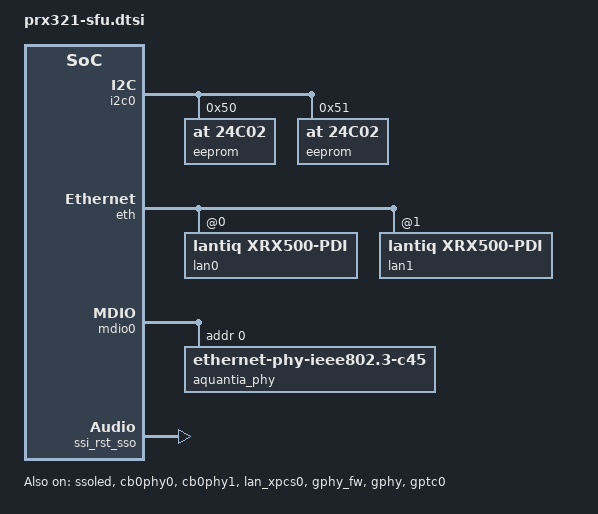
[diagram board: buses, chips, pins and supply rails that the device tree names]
#include <dt-bindings/gpio/gpio.h>
#include "prx300.dtsi"

/******************************************************************************
 ** Board configuration: Enable Shift register LED board configuration.
 ******************************************************************************/
&ssogpio {
	status = "okay";
	ngpios = <16>;
	intel,sso-update-rate = <250000>;
	/* Shift clk freq: 25MHz, 12.5MHz, 6.25MHz, 3.125Mz */
	intel,sso-shift-clk-freq = <6250000>;
};

&ssoled {
	status = "okay";

	/* led definition */
	intel,sso-def-brightness = <0>; /* default off */
	/* blink rate list: 2, 4, 8, 10, 50K, 100K, 200K, 250K*/
	intel,sso-def-blinkrate = <250000>;
};

/******************************************************************************
 ** Board configuration: Enable I2C for WAN transceiver EEPROM
 ******************************************************************************/
&i2c0 {
	status = "okay";

	/* EEPROM of the optical WAN transceiver */
	eeprom@50 {
		compatible = "at,24c02";
		reg = <0x50>;
	};
	eeprom@51 {
		compatible = "at,24c02";
		reg = <0x51>;
	};
};

/******************************************************************************
 ** Board configuration: Configure LAN/WAN interfaces
 ******************************************************************************/
&eth {
	status = "okay";

	lan0: interface@0 {
		status = "okay";
		compatible = "lantiq,xrx500-pdi";
		#address-cells = <1>;
		#size-cells = <0>;
		reg = <0>;
		intel,dp-dev-port = <3>;
		intel,dp-port-id = <3>;
		mac = <&gsw_mac1>;
		intel,lct-en = <1>;
		intel,extra-subif = <3>;

		ethernet@1 {
			compatible = "lantiq,xrx500-pdi-port";
			reg = <1>;
			phy-mode = "rgmii";
			phy-handle = <&aquantia_phy>;
		};
	};

	lan1: interface@1 {
		status = "okay";
		compatible = "lantiq,xrx500-pdi";
		#address-cells = <1>;
		#size-cells = <0>;
		reg = <1>;
		intel,dp-dev-port = <4>;
		intel,dp-port-id = <4>;
		mac = <&gsw_mac2>;
		intel,lct-en = <1>;
		intel,extra-subif = <3>;

		ethernet@1 {
			compatible = "lantiq,xrx500-pdi-port";
			reg = <2>;
			phy-mode = "rgmii";
			phy-handle = <&gphy>;
		};
	};

	wan: interface@5 {
		status = "disabled";
		compatible = "lantiq,xrx500-pdi";
		#address-cells = <1>;
		#size-cells = <0>;
		reg = <5>;
		lantiq,wan = <1>;
		intel,dp-dev-port = <2>;
		intel,dp-port-id = <2>;
		mac = <&gsw_mac0>;

		ethernet@5 {
			compatible = "lantiq,xrx500-pdi-port";
			reg = <1>;
			phy-mode = "rgmii";
		};
	};
};

/* xgmac mdio pins */
&gsw_mac1 {
	pinctrl-names = "default";
	pinctrl-0 = <&pinctrl_mdio0>;
};

/* mdio0 bus */
&mdio0 {
	#address-cells = <1>;
	#size-cells = <0>;
	aquantia_phy: ethernet-phy@0 {
		reg = <0x0>;
		compatible = "ethernet-phy-ieee802.3-c45";
	};
};

/* This is needed to improve qspi stability on the board */
&pinctrl_qspi {
	intel,slew-rate = <1>;
	intel,drive-current = <3>;
};

&ssc0 {
	pinctrl-0 = <&pinctrl_spi0_alt &pinctrl_spi0_cs_alt>;

	ltq-spinand@1 {
		status = "disabled";
		#address-cells = <1>;
		#size-cells = <1>;
		reg = <1>;
		compatible = "lantiq,spinand";
		linux,mtd-name = "nand.0";
		spi-max-frequency = <15384615>;
	};
};

&qspi0 {
	ltq-spinand@0 {
		status = "disabled";
		#address-cells = <1>;
		#size-cells = <1>;
		compatible = "lantiq,spinand";
		reg = <0 1>;
		linux,mtd-name = "nand.0";
		spi-max-frequency = <50000000>;
		page-size = <2048>;
		block-size = <17>; // 2^17, 128KB
		spi-tx-bus-width = <4>;
		spi-rx-bus-width = <4>;

		/* Read-delay is needed for higher freq.
		 * 2 ref_clk is chosen as value that works well upto
		 * spi-freq 50MHz (with ref_clk 100MHz).
		 */
		read-delay = <2>;
		tshsl-ns = <200>;
		tsd2d-ns = <255>;
		tchsh-ns = <20>;
		tslch-ns = <20>;
	};
};

&cb0phy0 {
	status = "okay";
	intel,mode = <1>; /*0-pcie, 1-xpcs*/
};

&cb0phy1 {
	status = "okay";
	intel,mode = <1>; /*0-pcie, 1-xpcs*/
};

&wan_xpcs_phy {
	status = "disabled";
};

&wan_xpcs {
	status = "disabled";
	xpcs-conntype = "SFP"; /* SFP or PHY */
};

&lan_xpcs0 {
	status = "okay";
	xpcs-mode = <0>; /* 0 - 10G_KR_MODE, 1 - 10G_XAUI_MODE, 2 - 1G_XAUI_MODE, 3 - 2P5G_GMII_MODE */
	xpcs-conntype = "SFP"; /* SFP or PHY */
};

&lan_xpcs1 {
	status = "disabled";
	xpcs-conntype = "SFP"; /* SFP or PHY */
};

&gphy_fw {
	status = "okay";
};

&gphy {
	status = "okay";
};

&watchdog {
	/* individual reset controls that need to
	 * explicitly asserted during reset
	 */
	resets = <&rcu0 0x10 29>;
	reset-names = "gphy";
};

/******************************************************************************
** Board configuration: Enable voice
******************************************************************************/

/* Use CPU1 for voice firmware. */
&cpu1 {
        default-OS = "VOICEFW";
};

/* Use SSO pin 15 for SLC200 reset. */
&ssi_rst_sso {
        status = "okay";
};

/* Do not use GPIO for SLC200 reset. */
&vcodec {
        pinctrl-0 = <&pinctrl_ssi &pinctrl_ssi_rx>;
};

&gptc0 {
	status = "okay";
	intel,clk = <&clocksource 3 1 0 10>;
};
